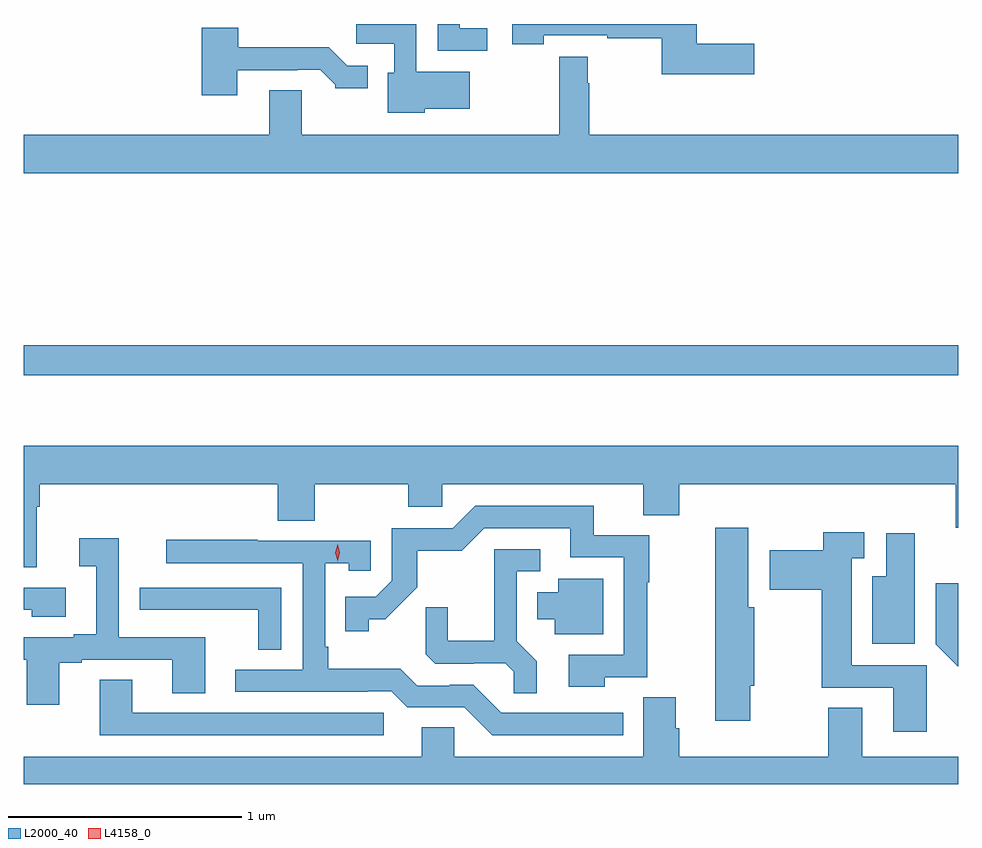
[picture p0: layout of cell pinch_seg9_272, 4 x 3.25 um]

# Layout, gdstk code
import gdstk
lib = gdstk.Library(unit=1e-6, precision=1e-09)
def R(c, l, rs):  # rectangles x0, y0, x1, y1
    for r in rs: c.add(gdstk.rectangle(r[:2], r[2:], *l))
def P(c, l, *ps):  # polygons
    for p in ps: c.add(gdstk.Polygon(p, *l))
L2000_40 = (2000, 40)
L4158_0 = (4158, 0)

pinch_seg9_272 = lib.new_cell('pinch_seg9_272')
R(pinch_seg9_272, L2000_40, [(395.483,1166.25,399.483,1166.378)])
P(pinch_seg9_272, L2000_40, [(397.2,1167.392),(397.393,1167.392),(397.393,1167.55),(397.164,1167.55),(397.164,1167.754),(396.905,1167.754),(396.905,1167.669),(397.068,1167.669),(397.068,1167.546),(397.04,1167.546),(397.04,1167.374),(397.2,1167.374)],
  [(397.468,1167.735),(397.35,1167.735),(397.35,1167.754),(397.254,1167.754),(397.254,1167.639),(397.468,1167.639)],
  [(398.611,1167.669),(398.363,1167.669),(398.363,1167.754),(397.574,1167.754),(397.574,1167.667),(397.709,1167.667),(397.709,1167.705),(397.981,1167.705),(397.981,1167.693),(398.215,1167.693),(398.215,1167.539),(398.611,1167.539)],
  [(396.397,1167.555),(396.653,1167.555),(396.653,1167.558),(396.752,1167.558),(396.816,1167.494),(396.816,1167.479),(396.955,1167.479),(396.955,1167.576),(396.867,1167.576),(396.789,1167.655),(396.4,1167.655),(396.4,1167.739),(396.245,1167.739),(396.245,1167.45),(396.397,1167.45)],
  [(399.483,1167.28),(397.904,1167.28),(397.904,1167.5),(397.897,1167.5),(397.897,1167.613),(397.776,1167.613),(397.776,1167.28),(396.673,1167.28),(396.673,1167.47),(396.533,1167.47),(396.533,1167.28),(395.483,1167.28),(395.483,1167.116),(399.483,1167.116)],
  [(395.539,1165.688),(395.552,1165.688),(395.552,1165.784),(396.569,1165.784),(396.569,1165.627),(396.729,1165.627),(396.729,1165.784),(397.129,1165.784),(397.129,1165.686),(397.275,1165.686),(397.275,1165.784),(398.135,1165.784),(398.135,1165.651),(398.288,1165.651),(398.288,1165.784),(399.473,1165.784),(399.473,1165.597),(399.483,1165.597),(399.483,1165.948),(395.483,1165.948),(395.483,1165.428),(395.539,1165.428)],
  [(397.971,1164.957),(398.153,1164.957),(398.153,1165.363),(398.161,1165.363),(398.161,1165.566),(397.922,1165.566),(397.922,1165.692),(397.416,1165.692),(397.32,1165.596),(397.059,1165.596),(397.059,1165.371),(396.99,1165.302),(396.859,1165.302),(396.859,1165.155),(396.96,1165.155),(396.96,1165.205),(397.03,1165.205),(397.168,1165.342),(397.168,1165.498),(397.357,1165.498),(397.455,1165.596),(397.823,1165.596),(397.823,1165.47),(398.052,1165.47),(398.052,1165.053),(397.815,1165.053),(397.815,1164.917),(397.971,1164.917)],
  [(398.592,1164.921),(398.61,1164.921),(398.61,1165.257),(398.584,1165.257),(398.584,1165.597),(398.443,1165.597),(398.443,1165.257),(398.444,1165.257),(398.444,1164.771),(398.592,1164.771)],
  [(399.349,1165.008),(399.028,1165.008),(399.028,1165.467),(399.082,1165.467),(399.082,1165.577),(398.906,1165.577),(398.906,1165.501),(398.676,1165.501),(398.676,1165.331),(398.899,1165.331),(398.899,1164.912),(399.206,1164.912),(399.206,1164.723),(399.349,1164.723)],
  [(399.298,1165.573),(399.176,1165.573),(399.176,1165.39),(399.116,1165.39),(399.116,1165.1),(399.298,1165.1)],
  [(395.635,1165.02),(395.731,1165.02),(395.731,1165.032),(396.119,1165.032),(396.119,1164.889),(396.259,1164.889),(396.259,1165.128),(395.889,1165.128),(395.889,1165.552),(395.721,1165.552),(395.721,1165.432),(395.792,1165.432),(395.792,1165.141),(395.696,1165.141),(395.696,1165.128),(395.483,1165.128),(395.483,1165.032),(395.495,1165.032),(395.495,1164.84),(395.635,1164.84)],
  [(398.05,1164.804),(397.527,1164.804),(397.407,1164.924),(397.306,1164.924),(397.306,1164.921),(397.167,1164.921),(397.094,1164.994),(396.787,1164.994),(396.787,1165.087),(396.774,1165.087),(396.774,1165.445),(396.873,1165.445),(396.873,1165.413),(396.969,1165.413),(396.969,1165.542),(396.485,1165.542),(396.485,1165.545),(396.093,1165.545),(396.093,1165.446),(396.678,1165.446),(396.678,1164.99),(396.387,1164.99),(396.387,1164.894),(396.956,1164.894),(396.956,1164.897),(397.056,1164.897),(397.125,1164.828),(397.368,1164.828),(397.488,1164.708),(398.05,1164.708)],
  [(397.679,1165.025),(397.593,1165.111),(397.593,1165.41),(397.693,1165.41),(397.693,1165.506),(397.496,1165.506),(397.496,1165.114),(397.298,1165.114),(397.298,1165.257),(397.204,1165.257),(397.204,1165.055),(397.245,1165.014),(397.41,1165.014),(397.41,1165.017),(397.544,1165.017),(397.581,1164.98),(397.581,1164.889),(397.679,1164.889)],
  [(397.963,1165.378),(397.772,1165.378),(397.772,1165.321),(397.682,1165.321),(397.682,1165.205),(397.757,1165.205),(397.757,1165.142),(397.963,1165.142)],
  [(399.483,1165.36),(399.387,1165.36),(399.387,1165.098),(399.481,1165.004),(399.483,1165.004)],
  [(396.585,1165.341),(395.979,1165.341),(395.979,1165.246),(396.091,1165.246),(396.091,1165.245),(396.487,1165.245),(396.487,1165.075),(396.585,1165.075)],
  [(395.662,1165.341),(395.483,1165.341),(395.483,1165.245),(395.517,1165.245),(395.517,1165.217),(395.662,1165.217)],
  [(397.024,1164.804),(395.947,1164.804),(395.947,1164.947),(395.807,1164.947),(395.807,1164.708),(397.024,1164.708)],
  [(399.483,1164.616),(399.073,1164.616),(399.073,1164.827),(398.926,1164.827),(398.926,1164.616),(398.288,1164.616),(398.288,1164.738),(398.275,1164.738),(398.275,1164.872),(398.135,1164.872),(398.135,1164.616),(397.326,1164.616),(397.326,1164.743),(397.187,1164.743),(397.187,1164.616),(395.483,1164.616),(395.483,1164.5),(399.483,1164.5)])
P(pinch_seg9_272, L4158_0, [(396.826,1165.454),(396.826,1165.455),(396.816,1165.491),(396.826,1165.527),(396.826,1165.527),(396.826,1165.527),(396.836,1165.491),(396.826,1165.455)])

lib.write_gds('pinch_seg9_272.gds')
